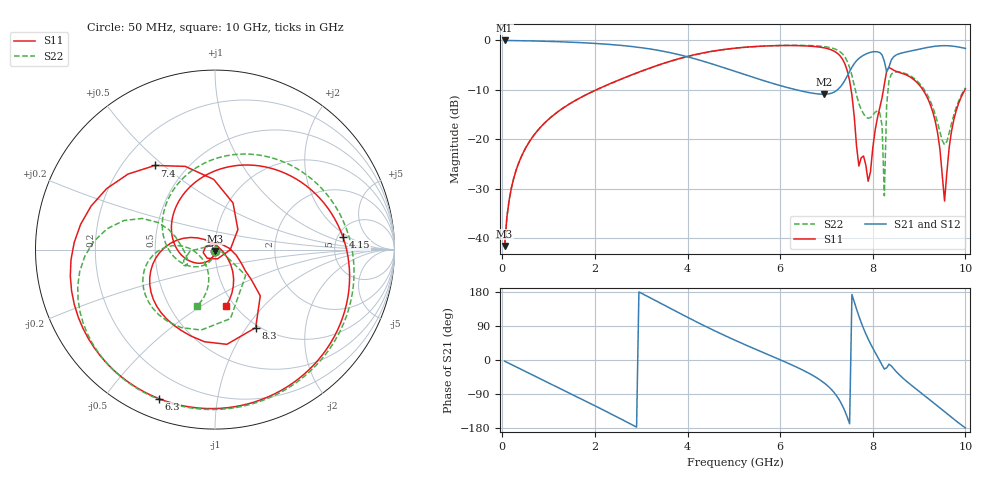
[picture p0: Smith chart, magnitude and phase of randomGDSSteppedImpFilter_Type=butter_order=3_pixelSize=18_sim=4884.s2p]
! freq	dB(S11)	phase(S11)	dB(S12)	phase(S12)
!  dB(S21)	phase(S21)	dB(S22)	phase(S22)
!S-par simulation data
#  GHz  S  DB  R 50
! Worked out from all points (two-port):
!   200 points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, 50 MHz to 10 GHz, reference 50 ohm
!   highest |S21| = -0.01 dB at 50 MHz (marker M1); lowest = -10.9 dB at 6.95 GHz (marker M2)
!   |S21| within 3 dB of the highest: start of sweep to 3.871 GHz; 8.494 GHz to end of sweep (the widest 2 of 3)
!   lowest |S11| = -41.6 dB at 50 MHz (marker M3), VSWR 1.02, Z = 50 - j0.828 ohm
!   |S11| at or under -10 dB: start of sweep to 2.029 GHz; 7.531 GHz to 8.229 GHz (698 MHz wide, 8.86 % of centre); 9.082 GHz to 9.991 GHz (908.3 MHz wide, 9.52 % of centre)
!   |S22| runs from -41.7 to -1.0 dB; largest |S21 - S12| = 0
!   S11 on the Smith chart (normalised r, x): 50 MHz: 1.00, -0.02; 4.15 GHz: 5.57, +1.60; 6.3 GHz: 0.09, -0.69; 7.4 GHz: 0.33, +0.47; 8.3 GHz: 0.97, -1.10; 10 GHz: 0.91, -0.64
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0.05  -41.63 -90.7  -0.01 -3.1  -0.01 -3.1  -41.65 -89.7
0.5  -21.85 -124.0  -0.07 -30.1  -0.07 -30.1  -21.84 -116.6
1.75  -11.28 152.9  -0.48 -105.4  -0.48 -105.4  -11.29 174.5
2.6  -7.70 98.9  -1.04 -158.1  -1.04 -158.1  -7.72 122.9
3.4  -4.90 49.9  -2.06 150.8  -2.06 150.8  -4.93 69.8
4.15  -2.90 5.6  -3.70 103.3  -3.70 103.3  -2.93 19.5
5.05  -1.54 -44.0  -6.35 50.8  -6.35 50.8  -1.56 -35.3
6.3  -1.04 -110.6  -9.89 -15.7  -9.89 -15.7  -0.99 -100.8
6.7  -1.20 -136.9  -10.69 -40.3  -10.69 -40.3  -1.06 -122.7
6.95  -1.50 -158.7  -10.90 -60.5  -10.90 -60.5  -1.25 -138.9
7.4  -4.79 125.5  -8.04 -135.4  -8.04 -135.4  -3.39 176.1
7.6  -15.41 41.2  -4.69 153.3  -4.69 153.3  -9.04 154.6
7.9  -28.52 111.4  -2.56 55.6  -2.56 55.6  -15.77 -165.7
8.15  -13.69 -35.0  -2.46 -1.8  -2.46 -1.8  -14.65 -160.9
8.25  -8.86 -45.6  -4.23 -23.9  -4.23 -23.9  -31.45 95.9
8.3  -6.19 -62.4  -6.36 -20.7  -6.36 -20.7  -13.02 -40.0
8.35  -5.48 -82.8  -5.35 -11.1  -5.35 -11.1  -8.09 -77.4
8.65  -6.71 -130.7  -2.49 -47.7  -2.49 -47.7  -6.54 -142.2
9.2  -12.02 171.9  -1.39 -101.9  -1.39 -101.9  -11.41 176.8
9.55  -32.50 48.2  -1.06 -136.5  -1.06 -136.5  -21.12 -145.1
9.7  -18.42 -43.5  -1.13 -151.3  -1.13 -151.3  -16.82 -104.3
10  -9.84 -79.3  -1.63 -179.3  -1.63 -179.3  -9.59 -107.9
